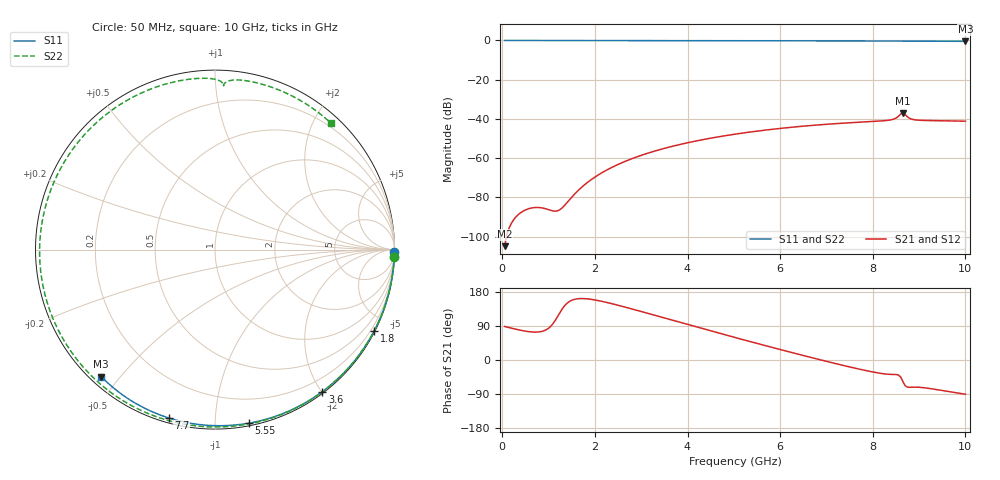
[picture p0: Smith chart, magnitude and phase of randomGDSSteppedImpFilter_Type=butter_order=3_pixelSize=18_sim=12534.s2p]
! freq	dB(S11)	phase(S11)	dB(S12)	phase(S12)
!  dB(S21)	phase(S21)	dB(S22)	phase(S22)
!S-par simulation data
#  GHz  S  DB  R 50
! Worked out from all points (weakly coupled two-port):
!   200 points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, 50 MHz to 10 GHz, reference 50 ohm
!   highest |S21| = -36.93 dB at 8.65 GHz (marker M1); lowest = -104.9 dB at 50 MHz (marker M2)
!   lowest |S11| = -0.4 dB at 10 GHz (marker M3), VSWR 39.10, Z = 1.53 - j22.3 ohm
!   |S11| at or under -10 dB: nowhere
!   |S22| runs from -0.8 to 0.0 dB; largest |S21 - S12| = 0
!   S11 on the Smith chart (normalised r, x): 50 MHz: open; 1.8 GHz: 0.04, -4.16; 3.6 GHz: 0.02, -2.01; 5.55 GHz: 0.02, -1.21; 7.7 GHz: 0.02, -0.76; 10 GHz: 0.03, -0.45
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0.05  -0.00 -0.8  -104.87 88.5  -104.87 88.5  -0.00 -2.4
0.35  -0.01 -5.3  -88.69 79.6  -88.69 79.6  -0.03 -16.9
0.7  -0.01 -10.6  -85.18 73.6  -85.18 73.6  -0.04 -33.4
1.1  -0.02 -16.6  -86.92 96.7  -86.92 96.7  -0.06 -51.5
1.5  -0.03 -22.6  -79.90 157.6  -79.90 157.6  -0.08 -68.6
1.75  -0.03 -26.3  -74.09 162.1  -74.09 162.1  -0.09 -78.8
1.8  -0.03 -27.0  -73.11 161.8  -73.11 161.8  -0.09 -80.7
2.45  -0.05 -36.5  -63.74 146.0  -63.74 146.0  -0.11 -104.8
3.4  -0.07 -50.1  -55.66 114.3  -55.66 114.3  -0.14 -135.3
3.6  -0.07 -52.9  -54.39 107.4  -54.39 107.4  -0.15 -141.2
4.3  -0.09 -62.5  -50.70 83.6  -50.70 83.6  -0.17 -160.7
5.05  -0.11 -72.5  -47.69 58.5  -47.69 58.5  -0.20 179.7
5.55  -0.13 -78.9  -46.08 42.1  -46.08 42.1  -0.22 167.1
6.7  -0.18 -93.4  -43.28 5.6  -43.28 5.6  -0.27 138.2
7.7  -0.24 -105.4  -41.70 -23.9  -41.70 -23.9  -0.32 112.3
8.35  -0.29 -113.0  -40.64 -37.8  -40.64 -37.8  -0.38 94.3
8.5  -0.30 -114.8  -39.59 -38.3  -39.59 -38.3  -0.46 89.7
8.65  -0.31 -116.5  -36.93 -56.7  -36.93 -56.7  -0.79 87.0
8.8  -0.32 -118.2  -39.75 -72.1  -39.75 -72.1  -0.44 83.7
8.9  -0.33 -119.4  -40.42 -71.6  -40.42 -71.6  -0.39 80.5
9.45  -0.39 -125.7  -40.92 -79.5  -40.92 -79.5  -0.37 64.0
10  -0.44 -131.9  -41.16 -90.3  -41.16 -90.3  -0.39 47.5
